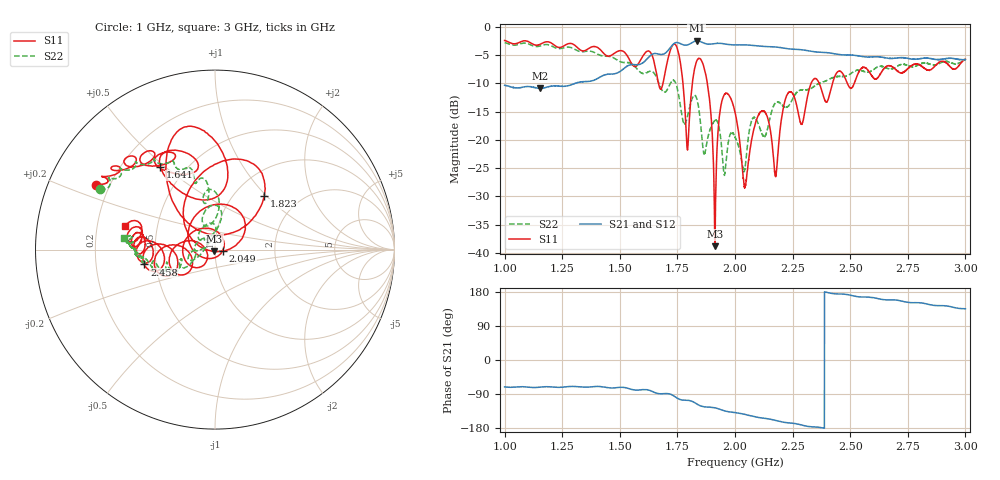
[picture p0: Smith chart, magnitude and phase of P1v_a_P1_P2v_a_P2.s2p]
!Keysight Technologies N9917A: A.13.25
!Date: Friday, 27 June 2025 16:55:03
!Timezone:
!Model: N9917A
!Serial: MY56072049
!GPS Latitude:
!GPS Longitude:
!GPS TimeStamp: 0001-01-01 00:00:00Z
!GPS Seconds Since Last Read: 0
!CHECKSUM:1773236835
!Correction: S11(ON U)S21(ON U)S12(ON U)S22(ON U)
!S2P File: Measurements:S11,S21,S12,S22:
# Hz S DB R 50
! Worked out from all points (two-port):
!   4001 points, 1 GHz to 3 GHz, reference 50 ohm
!   highest |S21| = -2.46 dB at 1.834 GHz (marker M1); lowest = -10.9 dB at 1.155 GHz (marker M2)
!   |S21| within 3 dB of the highest: 1.623 GHz to 2.647 GHz (1.023 GHz wide, 47.9 % of centre); 2.647233 GHz to 2.648278 GHz (1.045 MHz wide, 0.0395 % of centre)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
!   lowest |S11| = -38.8 dB at 1.913 GHz (marker M3), VSWR 1.02, Z = 49.6 - j1.05 ohm
!   |S11| at or under -10 dB: 1.774 GHz to 1.815 GHz (40.71 MHz wide, 2.27 % of centre); 1.88 GHz to 2.331 GHz (450.6 MHz wide, 21.4 % of centre); 2.365 GHz to 2.423 GHz (57.98 MHz wide, 2.42 % of centre)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
!   |S22| runs from -26.3 to -2.8 dB; largest |S21 - S12| = 0.003
!   S11 on the Smith chart (normalised r, x): 1 GHz: 0.15, +0.25; 1.641 GHz: 0.36, +0.48; 1.823 GHz: 1.35, +0.97; 2.049 GHz: 1.09, -0.01; 2.458 GHz: 0.43, -0.09; 3 GHz: 0.32, +0.12
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1e9  -2.43 151.4  -10.35 -70.9  -10.36 -70.9  -2.80 152.0
1.1545e9  -3.10 139.1  -10.91 -71.7  -10.89 -71.7  -3.40 140.2
1.3335e9  -4.22 129.3  -9.74 -71.2  -9.74 -71.3  -4.42 126.7
1.641e9  -5.16 123.5  -4.87 -83.1  -4.84 -83.0  -7.90 99.4
1.667e9  -9.87 114.7  -4.81 -88.6  -4.82 -88.6  -9.75 96.0
1.7445e9  -3.34 109.1  -2.79 -98.9  -2.81 -98.9  -10.16 88.1
1.794e9  -21.83 81.6  -3.22 -106.3  -3.22 -106.2  -15.84 115.1
1.8225e9  -7.83 47.6  -2.59 -111.7  -2.60 -111.7  -12.13 92.8
1.834e9  -6.03 58.3  -2.46 -115.9  -2.46 -115.9  -12.71 82.9
1.881e9  -10.25 123.9  -3.06 -124.3  -3.05 -124.2  -19.85 147.8
1.9125e9  -38.83 -112.5  -2.99 -126.2  -2.98 -126.1  -16.60 106.5
1.946e9  -12.74 44.5  -2.97 -132.6  -2.97 -132.5  -23.40 100.0
2e9  -15.09 148.5  -3.21 -138.8  -3.20 -138.7  -19.46 157.7
2.0485e9  -27.09 -7.0  -3.21 -144.4  -3.21 -144.3  -23.22 -169.2
2.1065e9  -15.32 159.9  -3.41 -152.1  -3.41 -152.1  -17.79 -175.5
2.1765e9  -26.54 -163.5  -3.60 -159.5  -3.59 -159.6  -13.41 -151.8
2.2245e9  -12.17 -175.8  -3.85 -165.4  -3.85 -165.3  -14.25 -162.3
2.2895e9  -17.26 -162.7  -4.07 -171.6  -4.06 -171.5  -11.19 -158.5
2.3335e9  -9.74 -175.5  -4.37 -176.3  -4.36 -176.3  -10.84 -161.6
2.458e9  -7.91 -168.1  -4.93 174.2  -4.94 174.1  -8.80 -161.7
2.667e9  -6.89 176.7  -5.58 158.7  -5.58 158.7  -7.44 -174.2
3e9  -5.73 165.3  -5.79 135.2  -5.78 135.3  -5.86 173.0
